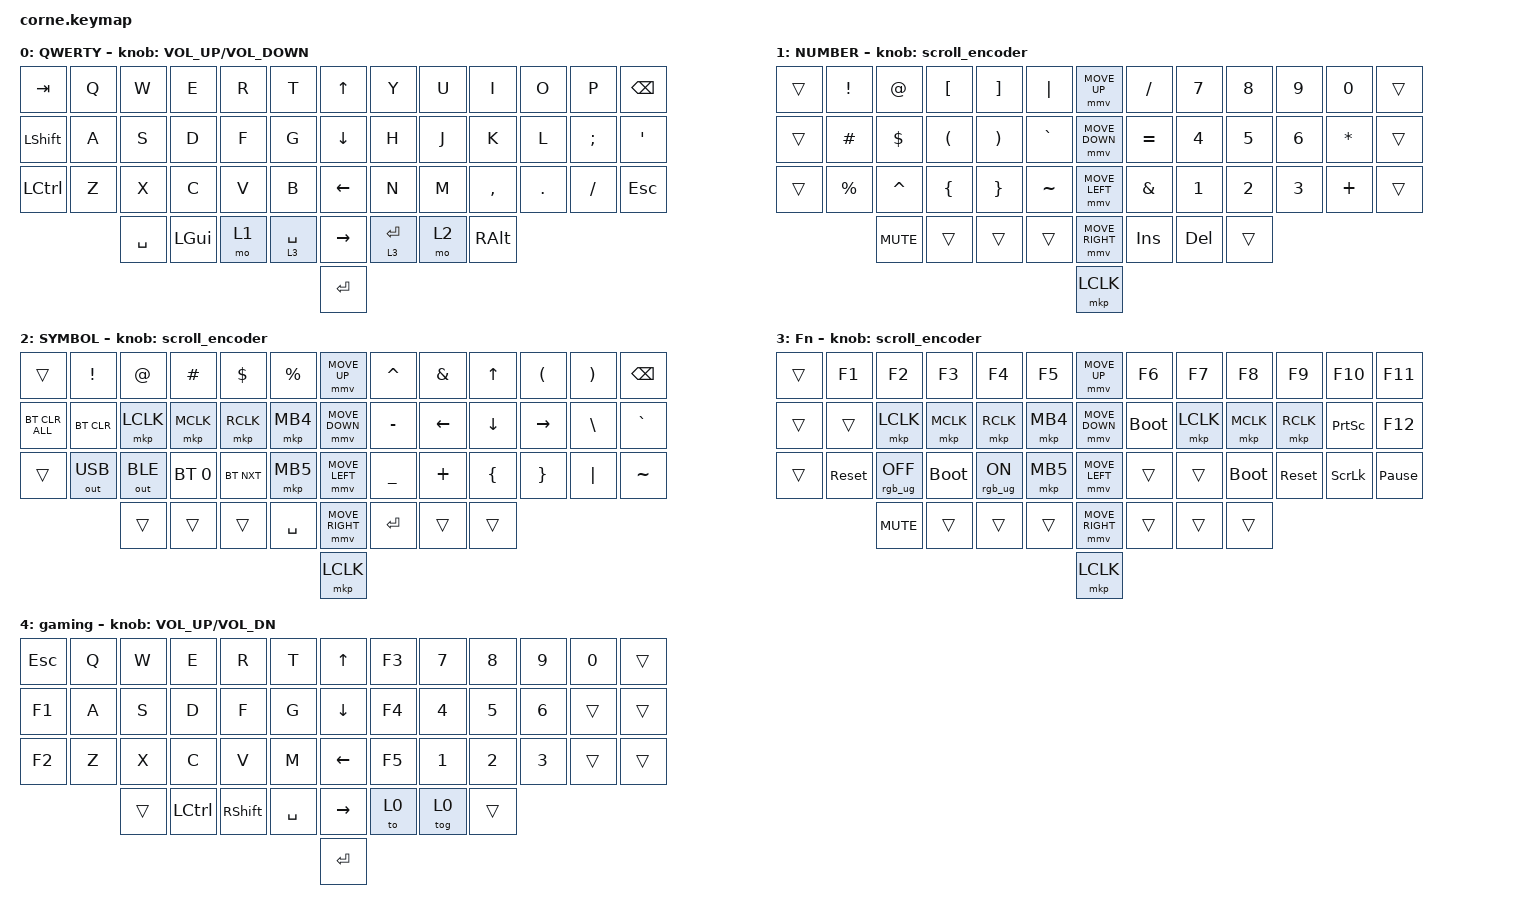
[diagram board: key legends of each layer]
#include <behaviors/mouse_keys.dtsi>
#include <behaviors.dtsi>
#include <dt-bindings/zmk/bt.h>
#include <dt-bindings/zmk/keys.h>
#include <dt-bindings/zmk/mouse.h>
#include <dt-bindings/zmk/outputs.h>
#include <dt-bindings/zmk/rgb.h>

#define ZMK_MOUSE_DEFAULT_MOVE_VAL 1200  // 600
#define ZMK_MOUSE_DEFAULT_SCRL_VAL 20    // 10
#define U_MS_U &mmv MOVE_UP
#define U_MS_D &mmv MOVE_DOWN
#define U_MS_L &mmv MOVE_LEFT
#define U_MS_R &mmv MOVE_RIGHT

/ {
    behaviors {
        td0: td0 {
            compatible = "zmk,behavior-tap-dance";
            label = "TD0";
            #binding-cells = <0>;
            bindings = <&kp LEFT_SHIFT>, <&kp CAPS>;
        };

        mmv {
            acceleration-exponent = <1>;      // 1
            time-to-max-speed-ms = <900>;    // 40
            delay-ms = <0>;                   // 0
        };

        msc {
            acceleration-exponent = <1>;      // 0
            time-to-max-speed-ms = <400>;      // 500
            delay-ms = <0>;                   // 10
        };
    };

    rgb_encoder: rgb_encoder {
        compatible = "zmk,behavior-sensor-rotate";
        label = "RGB_ENCODER";
        #sensor-binding-cells = <0>;
        bindings = <&rgb_ug RGB_BRI>, <&rgb_ug RGB_BRD>;
    };

    scroll_encoder: scroll_encoder {
        compatible = "zmk,behavior-sensor-rotate";
        #sensor-binding-cells = <0>;
        bindings = <&msc SCRL_DOWN>, <&msc SCRL_UP>;

        tap-ms = <30>;
    };

    combos {
        compatible = "zmk,combos";

        gaming {
            bindings = <&tog 4>;
            key-positions = <25 38>;
        };
    };

    keymap {
        compatible = "zmk,keymap";

        default_layer {
            display-name = "QWERTY";

            // --------------------------------------------------------------------------------
            // |  TAB |  Q  |  W  |  E  |  R  |  T  |                ↑    |  Y  |  U   |  I  |  O  |  P  | BKSP |      &kp UP_ARROW 
            // | SHIFT |  A  |  S  |  D  |  F  |  G  |               ↓    |  H  |  J   |  K  |  L  |  ;  |  '   | 
            // | CTRL |  Z  |  X  |  C  |  V  |  B  |                ←    |  N  |  M   |  ,  |  .  |  /  | ESC  |
            //                    | GUI | LWR | SPC |                →    | ENT | RSE  | ALT |
            //                                                      enter

            bindings = <
&kp TAB     &kp Q  &kp W      &kp E     &kp R  &kp T          &kp UP_ARROW     &kp Y        &kp U  &kp I      &kp O    &kp P     &kp BSPC
&kp LSHIFT  &kp A  &kp S      &kp D     &kp F  &kp G          &kp DOWN_ARROW   &kp H        &kp J  &kp K      &kp L    &kp SEMI  &kp SQT
&kp LCTRL   &kp Z  &kp X      &kp C     &kp V  &kp B          &kp LEFT_ARROW   &kp N        &kp M  &kp COMMA  &kp DOT  &kp FSLH  &kp ESC
                   &kp SPACE  &kp LGUI  &mo 1  &lt 3 SPACE    &kp RIGHT_ARROW  &lt 3 ENTER  &mo 2  &kp RALT
                                                              &kp ENTER
            >;

            label = "QWERTY";
            sensor-bindings = <&inc_dec_kp C_VOLUME_UP C_VOLUME_DOWN>;
        };

        lower_layer {
            display-name = "NUMBER";

            // -----------------------------------------------------------------------------------------
            // |  TAB |  1  |  2  |  3  |  4  |  5  |   |  6  |  7  |  8  |  9  |  0  | BKSP |
            // | BTCLR| BT1 | BT2 | BT3 | BT4 | BT5 |   | LFT | DWN |  UP | RGT |     |      |
            // | SHFT |     |     |     |     |     |   |     |     |     |     |     |      |
            //                    | GUI |     | SPC |   | ENT |     | ALT |

            bindings = <
&trans  &kp EXCLAMATION  &kp AT_SIGN  &kp LEFT_BRACKET      &kp RIGHT_BRACKET      &kp PIPE     &mmv MOVE_UP     &kp SLASH      &kp N7        &kp N8        &kp N9        &kp N0        &trans
&trans  &kp HASH         &kp DOLLAR   &kp LEFT_PARENTHESIS  &kp RIGHT_PARENTHESIS  &kp GRAVE    &mmv MOVE_DOWN   &kp EQUAL      &kp NUMBER_4  &kp N5        &kp NUMBER_6  &kp ASTERISK  &trans
&trans  &kp PERCENT      &kp CARET    &kp LEFT_BRACE        &kp RIGHT_BRACE        &kp TILDE    &mmv MOVE_LEFT   &kp AMPERSAND  &kp NUMBER_1  &kp NUMBER_2  &kp NUMBER_3  &kp PLUS      &trans
                         &kp C_MUTE   &trans                &trans                 &trans       &mmv MOVE_RIGHT  &kp INS        &kp DEL       &trans
                                                                                                &mkp LCLK
            >;

            label = "NUMBER";
            sensor-bindings = <&scroll_encoder>;
        };

        raise_layer {
            display-name = "SYMBOL";

            // -----------------------------------------------------------------------------------------
            // |  TAB |  !  |  @  |  #  |  $  |  %  |   |  ^  |  &  |  *  |  (  |  )  | BKSP |
            // | CTRL |     |     |     |     |     |   |  -  |  =  |  [  |  ]  |  \  |  `   |
            // | SHFT |     |     |     |     |     |   |  _  |  +  |  {  |  }  | "|" |  ~   |
            //                    | GUI |     | SPC |   | ENT |     | ALT |

            bindings = <
&trans          &kp EXCL      &kp AT        &kp HASH      &kp DLLR    &kp PRCNT    &mmv MOVE_UP     &kp CARET  &kp AMPS        &kp UP_ARROW  &kp LPAR   &kp RPAR  &kp BSPC
&bt BT_CLR_ALL  &bt BT_CLR    &mkp LCLK     &mkp MCLK     &mkp RCLK   &mkp MB4     &mmv MOVE_DOWN   &kp MINUS  &kp LEFT_ARROW  &kp DOWN      &kp RIGHT  &kp BSLH  &kp GRAVE
&trans          &out OUT_USB  &out OUT_BLE  &bt BT_SEL 0  &bt BT_NXT  &mkp MB5     &mmv MOVE_LEFT   &kp UNDER  &kp PLUS        &kp LBRC      &kp RBRC   &kp PIPE  &kp TILDE
                              &trans        &trans        &trans      &kp SPACE    &mmv MOVE_RIGHT  &kp RET    &trans          &trans
                                                                                   &mkp LCLK
            >;

            label = "SYMBOL";
            sensor-bindings = <&scroll_encoder>;
        };

        layer_3 {
            display-name = "Fn";
            bindings = <
&trans  &kp F1      &kp F2           &kp F3       &kp F4          &kp F5      &mmv MOVE_UP     &kp F6       &kp F7     &kp F8       &kp F9      &kp F10          &kp F11
&trans  &trans      &mkp LCLK        &mkp MCLK    &mkp RCLK       &mkp MB4    &mmv MOVE_DOWN   &bootloader  &mkp LCLK  &mkp MCLK    &mkp RCLK   &kp PRINTSCREEN  &kp F12
&trans  &sys_reset  &rgb_ug RGB_OFF  &bootloader  &rgb_ug RGB_ON  &mkp MB5    &mmv MOVE_LEFT   &trans       &trans     &bootloader  &sys_reset  &kp SCROLLLOCK   &kp PAUSE_BREAK
                    &kp C_MUTE       &trans       &trans          &trans      &mmv MOVE_RIGHT  &trans       &trans     &trans
                                                                              &mkp LCLK
            >;

            label = "FN";
            sensor-bindings = <&scroll_encoder>;
        };

        gaming {
            bindings = <
&kp ESC  &kp Q  &kp W   &kp E      &kp R      &kp T        &kp UP_ARROW    &kp F3  &kp N7        &kp N8        &kp N9        &kp N0  &trans
&kp F1   &kp A  &kp S   &kp D      &kp F      &kp G        &kp DOWN_ARROW  &kp F4  &kp NUMBER_4  &kp N5        &kp NUMBER_6  &trans  &trans
&kp F2   &kp Z  &kp X   &kp C      &kp V      &kp M        &kp LEFT        &kp F5  &kp NUMBER_1  &kp NUMBER_2  &kp NUMBER_3  &trans  &trans
                &trans  &kp LCTRL  &kp RSHFT  &kp SPACE    &kp RIGHT       &to 0   &tog 0        &trans
                                                           &kp ENTER
            >;

            sensor-bindings = <&inc_dec_kp C_VOLUME_UP C_VOL_DN>;
        };
    };
};
